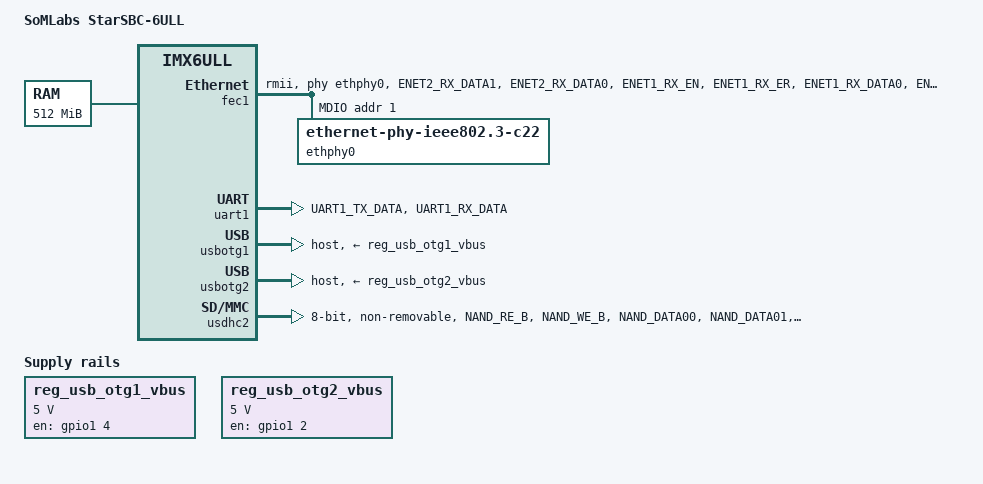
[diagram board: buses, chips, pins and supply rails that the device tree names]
// SPDX-License-Identifier: GPL-2.0+
/*
 * Copyright (C) 2021 Somlabs
 */

/dts-v1/;

#include <dt-bindings/input/input.h>
#include "imx6ull.dtsi"

/ {
	model = "SoMLabs StarSBC-6ULL";
	compatible = "fsl,imx6ull";

	chosen {
		stdout-path = &uart1;
	};

	memory {
		reg = <0x80000000 0x20000000>;
	};

	reserved-memory {
		#address-cells = <1>;
		#size-cells = <1>;
		ranges;

		linux,cma {
			compatible = "shared-dma-pool";
			reusable;
			size = <0x14000000>;
			linux,cma-default;
		};
	};

	regulators {
		compatible = "simple-bus";
		#address-cells = <1>;
		#size-cells = <0>;

		reg_usb_otg1_vbus: regulator@2 {
			compatible = "regulator-fixed";
			reg = <2>;
			pinctrl-names = "default";
			pinctrl-0 = <&pinctrl_usb_otg1>;
			regulator-name = "usb_otg1_vbus";
			regulator-min-microvolt = <5000000>;
			regulator-max-microvolt = <5000000>;
			gpio = <&gpio1 4 GPIO_ACTIVE_HIGH>;
			enable-active-high;
		};

		reg_usb_otg2_vbus: regulator@3 {
			compatible = "regulator-fixed";
			reg = <3>;
			pinctrl-names = "default";
			pinctrl-0 = <&pinctrl_usb_otg2>;
			regulator-name = "usb_otg2_vbus";
			regulator-min-microvolt = <5000000>;
			regulator-max-microvolt = <5000000>;
			gpio = <&gpio1 2 GPIO_ACTIVE_HIGH>;
			enable-active-high;
		};
	};
};

&cpu0 {
	arm-supply = <&reg_arm>;
	soc-supply = <&reg_soc>;
};

&fec1 {
	pinctrl-names = "default";
	pinctrl-0 = <&pinctrl_enet1>;
	phy-reset-gpios = <&gpio2 10 GPIO_ACTIVE_LOW>;
	phy-reset-duration = <5>;
	phy-reset-post-delay = <10>;
	phy-mode = "rmii";
	phy-handle = <&ethphy0>;
	status = "okay";

	mdio {
		#address-cells = <1>;
		#size-cells = <0>;

		ethphy0: ethernet-phy@1 {
			compatible = "ethernet-phy-ieee802.3-c22";
			reg = <1>;
		};
	};

};

&gpc {
	fsl,cpu_pupscr_sw2iso = <0x1>;
	fsl,cpu_pupscr_sw = <0x0>;
	fsl,cpu_pdnscr_iso2sw = <0x1>;
	fsl,cpu_pdnscr_iso = <0x1>;
	fsl,ldo-bypass = <0>; /* DCDC, ldo-enable */
};

&iomuxc {
	pinctrl-names = "default";
	pinctrl-0 = <&pinctrl_hog_1>;
	imx6ul-evk {
		pinctrl_hog_1: hoggrp-1 {
			fsl,pins = <
				MX6UL_PAD_JTAG_TCK__OSC32K_32K_OUT		0x17099	/* 0x4001b031*/	/* 32kHz low power clock reference clock for WiFi*/
				/* pins usedto detect WLAN module presence */
				MX6UL_PAD_CSI_MCLK__GPIO4_IO17 			0x17059	/* output */
				MX6UL_PAD_CSI_VSYNC__GPIO4_IO19			0x1b001 /* input with 100k pullup */
				/* pin used to detect COMM shield precense */
				MX6UL_PAD_LCD_DATA12__GPIO3_IO17		0x1b001 /* input with 100k pullup */
			>;
		};

		pinctrl_enet1: enet1grp {
			fsl,pins = <
				MX6UL_PAD_ENET2_RX_DATA1__ENET1_MDC	0x1b0b0
				MX6UL_PAD_ENET2_RX_DATA0__ENET1_MDIO	0x1f829

				MX6UL_PAD_ENET1_RX_EN__ENET1_RX_EN	0x1b0b0
				MX6UL_PAD_ENET1_RX_ER__ENET1_RX_ER	0x1b0b0
				MX6UL_PAD_ENET1_RX_DATA0__ENET1_RDATA00	0x1b0b0
				MX6UL_PAD_ENET1_RX_DATA1__ENET1_RDATA01	0x1b0b0
				MX6UL_PAD_ENET1_TX_EN__ENET1_TX_EN	0x1b0b0
				MX6UL_PAD_ENET1_TX_DATA0__ENET1_TDATA00	0x1b0b0
				MX6UL_PAD_ENET1_TX_DATA1__ENET1_TDATA01	0x1b0b0
				MX6UL_PAD_ENET1_TX_CLK__ENET1_REF_CLK1	0x400010a9
				/* PHY reset pin */
				MX6UL_PAD_ENET2_RX_EN__GPIO2_IO10	0x1b0b0	/* output */
				/* PHY int pin */
				MX6UL_PAD_ENET2_TX_DATA0__GPIO2_IO11	0x1b001 /* input with 100k pullup */
			>;
		};

		pinctrl_uart1: uart1grp {
			fsl,pins = <
				MX6UL_PAD_UART1_TX_DATA__UART1_DCE_TX 0x1b0b1
				MX6UL_PAD_UART1_RX_DATA__UART1_DCE_RX 0x1b0b1
			>;
		};

		pinctrl_usdhc2: usdhc2grp {
			fsl,pins = <
				MX6UL_PAD_NAND_RE_B__USDHC2_CLK     0x10069
				MX6UL_PAD_NAND_WE_B__USDHC2_CMD     0x17059
				MX6UL_PAD_NAND_DATA00__USDHC2_DATA0 0x17059
				MX6UL_PAD_NAND_DATA01__USDHC2_DATA1 0x17059
				MX6UL_PAD_NAND_DATA02__USDHC2_DATA2 0x17059
				MX6UL_PAD_NAND_DATA03__USDHC2_DATA3 0x17059
			>;
		};

		pinctrl_usdhc2_8bit: usdhc2grp_8bit {
			fsl,pins = <
				MX6UL_PAD_NAND_RE_B__USDHC2_CLK     0x10069
				MX6UL_PAD_NAND_WE_B__USDHC2_CMD     0x17059
				MX6UL_PAD_NAND_DATA00__USDHC2_DATA0 0x17059
				MX6UL_PAD_NAND_DATA01__USDHC2_DATA1 0x17059
				MX6UL_PAD_NAND_DATA02__USDHC2_DATA2 0x17059
				MX6UL_PAD_NAND_DATA03__USDHC2_DATA3 0x17059
				MX6UL_PAD_NAND_DATA04__USDHC2_DATA4 0x17059
				MX6UL_PAD_NAND_DATA05__USDHC2_DATA5 0x17059
				MX6UL_PAD_NAND_DATA06__USDHC2_DATA6 0x17059
				MX6UL_PAD_NAND_DATA07__USDHC2_DATA7 0x17059
			>;
		};

		pinctrl_usdhc2_8bit_100mhz: usdhc2grp_8bit_100mhz {
			fsl,pins = <
				MX6UL_PAD_NAND_RE_B__USDHC2_CLK     0x100b9
				MX6UL_PAD_NAND_WE_B__USDHC2_CMD     0x170b9
				MX6UL_PAD_NAND_DATA00__USDHC2_DATA0 0x170b9
				MX6UL_PAD_NAND_DATA01__USDHC2_DATA1 0x170b9
				MX6UL_PAD_NAND_DATA02__USDHC2_DATA2 0x170b9
				MX6UL_PAD_NAND_DATA03__USDHC2_DATA3 0x170b9
				MX6UL_PAD_NAND_DATA04__USDHC2_DATA4 0x170b9
				MX6UL_PAD_NAND_DATA05__USDHC2_DATA5 0x170b9
				MX6UL_PAD_NAND_DATA06__USDHC2_DATA6 0x170b9
				MX6UL_PAD_NAND_DATA07__USDHC2_DATA7 0x170b9
			>;
		};

		pinctrl_usdhc2_8bit_200mhz: usdhc2grp_8bit_200mhz {
			fsl,pins = <
				MX6UL_PAD_NAND_RE_B__USDHC2_CLK     0x100f9
				MX6UL_PAD_NAND_WE_B__USDHC2_CMD     0x170f9
				MX6UL_PAD_NAND_DATA00__USDHC2_DATA0 0x170f9
				MX6UL_PAD_NAND_DATA01__USDHC2_DATA1 0x170f9
				MX6UL_PAD_NAND_DATA02__USDHC2_DATA2 0x170f9
				MX6UL_PAD_NAND_DATA03__USDHC2_DATA3 0x170f9
				MX6UL_PAD_NAND_DATA04__USDHC2_DATA4 0x170f9
				MX6UL_PAD_NAND_DATA05__USDHC2_DATA5 0x170f9
				MX6UL_PAD_NAND_DATA06__USDHC2_DATA6 0x170f9
				MX6UL_PAD_NAND_DATA07__USDHC2_DATA7 0x170f9
			>;
		};

		pinctrl_wdog: wdoggrp {
			fsl,pins = <
				MX6UL_PAD_LCD_RESET__WDOG1_WDOG_ANY	0x30b0
			>;
		};

		pinctrl_usb_otg1: usbotg1grp {
			fsl,pins = <
				MX6UL_PAD_GPIO1_IO04__GPIO1_IO04	0x10b0
			>;
		};

		pinctrl_usb_otg2: usbotg2grp {
			fsl,pins = <
				MX6UL_PAD_GPIO1_IO02__GPIO1_IO02	0x10b0
			>;
		};
	};
};

&uart1 {
	pinctrl-names = "default";
	pinctrl-0 = <&pinctrl_uart1>;
	status = "okay";
};

&usbotg1 {
	vbus-supply = <&reg_usb_otg1_vbus>;
	dr_mode = "host";
	status = "okay";
};

&usbotg2 {
	vbus-supply = <&reg_usb_otg2_vbus>;
	dr_mode = "host";
	status = "okay";
};

&usbphy1 {
	tx-d-cal = <0x5>;
};

&usbphy2 {
	tx-d-cal = <0x5>;
};

&usdhc2 {
	pinctrl-names = "default", "state_100mhz", "state_200mhz";
	pinctrl-0 = <&pinctrl_usdhc2_8bit>;
	pinctrl-1 = <&pinctrl_usdhc2_8bit_100mhz>;
	pinctrl-2 = <&pinctrl_usdhc2_8bit_200mhz>;
	bus-width = <8>;
	non-removable;
	status = "okay";
};

&wdog1 {
	pinctrl-names = "default";
	pinctrl-0 = <&pinctrl_wdog>;
	fsl,wdog_b;
};
